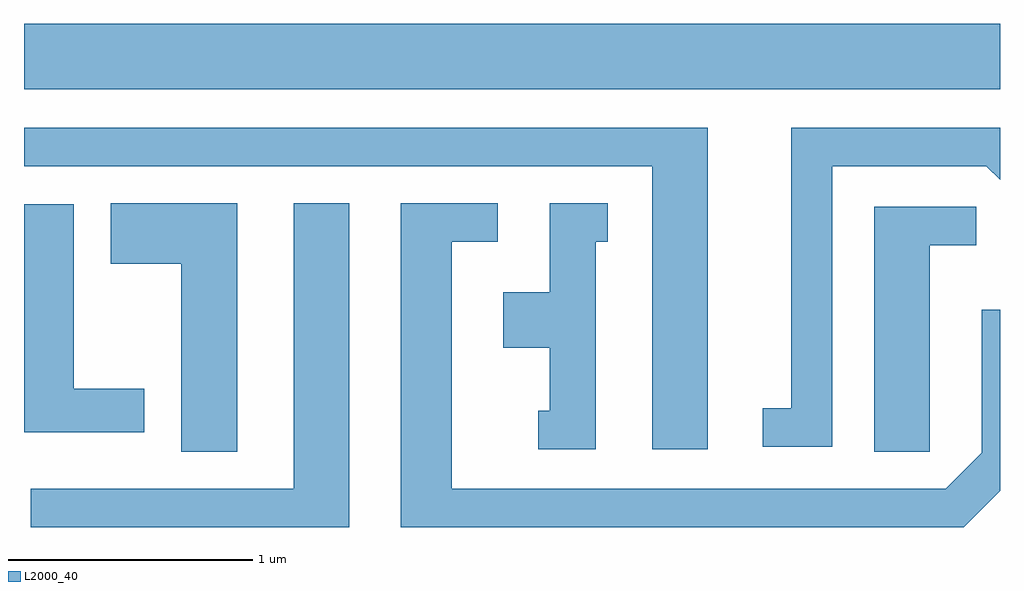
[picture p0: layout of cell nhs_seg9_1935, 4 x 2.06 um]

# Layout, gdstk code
import gdstk
lib = gdstk.Library(unit=1e-6, precision=1e-09)
def R(c, l, rs):  # rectangles x0, y0, x1, y1
    for r in rs: c.add(gdstk.rectangle(r[:2], r[2:], *l))
def P(c, l, *ps):  # polygons
    for p in ps: c.add(gdstk.Polygon(p, *l))
L2000_40 = (2000, 40)

nhs_seg9_1935 = lib.new_cell('nhs_seg9_1935')
R(nhs_seg9_1935, L2000_40, [(241.611,2016.236,245.611,2016.504)])
P(nhs_seg9_1935, L2000_40, [(244.924,2015.921),(245.554,2015.921),(245.611,2015.864),(245.611,2016.079),(244.756,2016.079),(244.756,2014.929),(244.638,2014.929),(244.638,2014.771),(244.924,2014.771)],
  [(244.414,2016.079),(241.611,2016.079),(241.611,2015.921),(244.186,2015.921),(244.186,2014.761),(244.414,2014.761)],
  [(245.611,2014.59),(245.611,2015.333),(245.536,2015.333),(245.536,2014.747),(245.389,2014.599),(243.364,2014.599),(243.364,2015.611),(243.553,2015.611),(243.553,2015.769),(243.156,2015.769),(243.156,2014.441),(245.462,2014.441)],
  [(242.484,2015.769),(241.966,2015.769),(241.966,2015.521),(242.256,2015.521),(242.256,2014.751),(242.484,2014.751)],
  [(242.944,2015.769),(242.716,2015.769),(242.716,2014.599),(241.638,2014.599),(241.638,2014.441),(242.944,2014.441)],
  [(243.954,2015.611),(244.003,2015.611),(244.003,2015.769),(243.766,2015.769),(243.766,2015.404),(243.576,2015.404),(243.576,2015.176),(243.766,2015.176),(243.766,2014.919),(243.718,2014.919),(243.718,2014.761),(243.954,2014.761)],
  [(242.104,2015.009),(241.814,2015.009),(241.814,2015.764),(241.611,2015.764),(241.611,2014.831),(242.104,2014.831)],
  [(245.324,2015.596),(245.513,2015.596),(245.513,2015.754),(245.096,2015.754),(245.096,2014.751),(245.324,2014.751)])

lib.write_gds('nhs_seg9_1935.gds')
